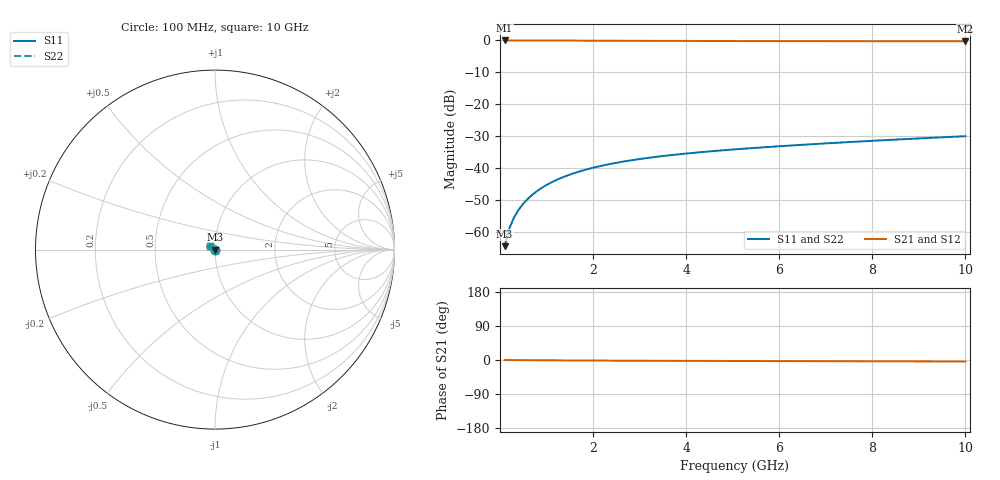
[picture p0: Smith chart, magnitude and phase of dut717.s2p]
! Touchstone file exported from HFSS 2024.1.0
!  File:  C:/UserFiles/LocalFiles/RDL_TSV_Batchsim/temp_TSV1_717_1779867950.aedt
!  Generated:  03:52:35 PM May 27, 2026
!  Design:  TSV1
!  Project:  temp_TSV1_717_1779867950
!  Setup:  Setup1
!  Solution:  Sweep
! Variables:
!  dtsv = 7.12um
!  hbump = 3um
!  htsv = 55.77um
!  lrdl = 252.1521522um
!  p = 40
!  p1 = 55.98um
!  t = 500um
!  trdl = 3um
!  wrdl = 24.89489489um
# GHz S MA R 50.000000
! Terminal data exported
! Port[1] = TSV22_T1
! Port[2] = TSV22_T2
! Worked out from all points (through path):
!   100 points, 100 MHz to 10 GHz, reference 50 ohm
!   highest |S21| = 0.00 dB at 100 MHz (marker M1); lowest = -0.3 dB at 10 GHz (marker M2)
!   lowest |S11| = -64.4 dB at 100 MHz (marker M3), VSWR 1.00, Z = 50 - j0.0565 ohm
!   |S11| at or under -10 dB: start of sweep to end of sweep
!   |S22| runs from -64.4 to -30.0 dB; largest |S21 - S12| = 7.1e-15
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0.1  0.0006009 -70.0  0.9997 -0.1  0.9997 -0.1  0.0006009 -70.0
! Gamma 0 0 0 0
! Port Impedance 50 0 50 0
0.2  0.001134 -83.4  0.9997 -0.2  0.9997 -0.2  0.001134 -83.4
0.3  0.00168 -89.7  0.9995 -0.3  0.9995 -0.3  0.00168 -89.7
0.4  0.002229 -94.1  0.9993 -0.3  0.9993 -0.3  0.002229 -94.1
0.5  0.002776 -97.8  0.9991 -0.4  0.9991 -0.4  0.002776 -97.8
0.6  0.003322 -101.0  0.9988 -0.5  0.9988 -0.5  0.003322 -101.0
0.7  0.003863 -103.9  0.9985 -0.6  0.9985 -0.6  0.003863 -103.9
0.8  0.004398 -106.7  0.9982 -0.7  0.9982 -0.7  0.004398 -106.7
0.9  0.004928 -109.3  0.9978 -0.7  0.9978 -0.7  0.004928 -109.3
1.1  0.005963 -114.4  0.997 -0.9  0.997 -0.9  0.005963 -114.4
1.4  0.00745 -121.4  0.9955 -1.1  0.9955 -1.1  0.00745 -121.4
1.6  0.008392 -125.9  0.9945 -1.2  0.9945 -1.2  0.008392 -125.9
1.8  0.009293 -130.2  0.9934 -1.3  0.9934 -1.3  0.009293 -130.2
2.1  0.01057 -136.3  0.9917 -1.5  0.9917 -1.5  0.01057 -136.3
2.5  0.01213 -143.8  0.9895 -1.7  0.9895 -1.7  0.01213 -143.8
2.9  0.01356 -150.8  0.9874 -1.9  0.9874 -1.9  0.01356 -150.8
3.4  0.01518 -158.8  0.985 -2.1  0.985 -2.1  0.01518 -158.8
4.2  0.01749 -170.0  0.9817 -2.3  0.9817 -2.3  0.01749 -170.0
5.1  0.01984 179.4  0.9788 -2.6  0.9788 -2.6  0.01984 179.4
6.7  0.02372 164.4  0.9752 -3.1  0.9752 -3.1  0.02372 164.4
8.4  0.02778 152.4  0.9728 -3.6  0.9728 -3.6  0.02778 152.4
10  0.03169 143.7  0.9711 -4.0  0.9711 -4.0  0.03169 143.7
